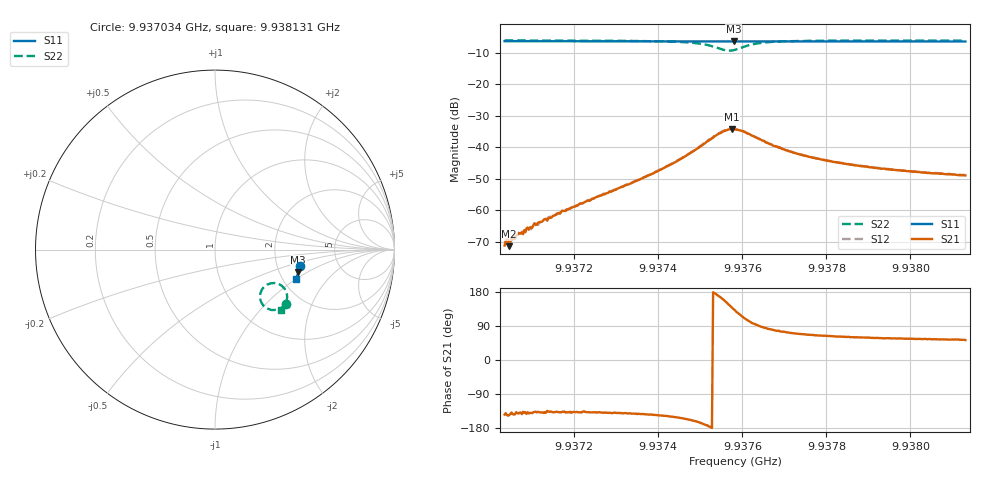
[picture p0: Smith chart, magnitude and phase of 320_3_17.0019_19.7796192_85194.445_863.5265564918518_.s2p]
#  HZ  S  RI  R  50.00
! Rohde & Schwarz Vector Network Analyzer
! Rohde-Schwarz,ZNB20-2Port,1311601062101988,3.16
! Created: UTC 3/20/2024, 11:06:23 PM
! freq[Hz]  re:S11  im:S11  re:S21  im:S21  re:S12  im:S12  re:S22  im:S22
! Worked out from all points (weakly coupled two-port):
!   401 points, 9.937034 GHz to 9.938131 GHz, reference 50 ohm
!   highest |S21| = -34.20 dB at 9.937574 GHz (marker M1); lowest = -71.4 dB at 9.937045 GHz (marker M2)
!   lowest |S11| = -6.4 dB at 9.93758 GHz (marker M3), VSWR 2.85, Z = 127 - j41.2 ohm
!   |S11| at or under -10 dB: nowhere
!   |S22| runs from -9.3 to -6.0 dB; largest |S21 - S12| = 0.00096
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9.9370343e9  0.4761 -0.0903  -0.000222 -0.000161  -0.00025 -0.000149  0.3969 -0.3015
9.9370452e9  0.4759 -0.0911  -0.00022 -0.000153  -0.000244 -0.000186  0.3963 -0.3025
9.9370507e9  0.4757 -0.0913  -0.000263 -0.000231  -0.000269 -0.000207  0.3957 -0.3028
9.9370617e9  0.4756 -0.0921  -0.000287 -0.000262  -0.000289 -0.00026  0.3952 -0.3037
9.9371083e9  0.4746 -0.0953  -0.000423 -0.000402  -0.000452 -0.00038  0.3917 -0.3069
9.9371275e9  0.4744 -0.0966  -0.000542 -0.000454  -0.000524 -0.000465  0.3901 -0.3083
9.9372179e9  0.4727 -0.1027  -0.000959 -0.00085  -0.000968 -0.000856  0.3822 -0.3155
9.9373331e9  0.4704 -0.1104  -0.00205 -0.00166  -0.00213 -0.00166  0.3665 -0.3262
9.9374016e9  0.4688 -0.115  -0.00355 -0.0024  -0.00361 -0.00234  0.3506 -0.3334
9.9374591e9  0.4674 -0.119  -0.00618 -0.00299  -0.00637 -0.00294  0.3259 -0.337
9.9375112e9  0.4656 -0.1225  -0.0114 -0.00193  -0.0117 -0.00175  0.2829 -0.3232
9.9375496e9  0.4641 -0.1243  -0.0164 0.00475  -0.0168 0.00531  0.2509 -0.2631
9.9375743e9  0.4636 -0.1249  -0.0148 0.0127  -0.0145 0.0134  0.2775 -0.2042
9.9375798e9  0.4634 -0.1252  -0.0135 0.014  -0.0131 0.0145  0.2901 -0.1956
9.9375825e9  0.4636 -0.1252  -0.0126 0.0144  -0.0123 0.0153  0.2971 -0.1923
9.9376044e9  0.4638 -0.1262  -0.00613 0.0165  -0.00583 0.0168  0.3495 -0.1902
9.9376428e9  0.4638 -0.1291  0.000307 0.0134  0.000545 0.0133  0.3933 -0.2276
9.9377086e9  0.4627 -0.1338  0.00261 0.00835  0.00285 0.00837  0.4013 -0.2721
9.9377661e9  0.4615 -0.1377  0.00276 0.0063  0.00294 0.00631  0.3967 -0.2915
9.9378621e9  0.4591 -0.1443  0.00261 0.00456  0.00271 0.00455  0.3878 -0.3093
9.9379498e9  0.457 -0.1499  0.00238 0.00373  0.00248 0.00373  0.381 -0.3196
9.9381307e9  0.4522 -0.1616  0.00217 0.00283  0.00222 0.00287  0.3681 -0.3345
